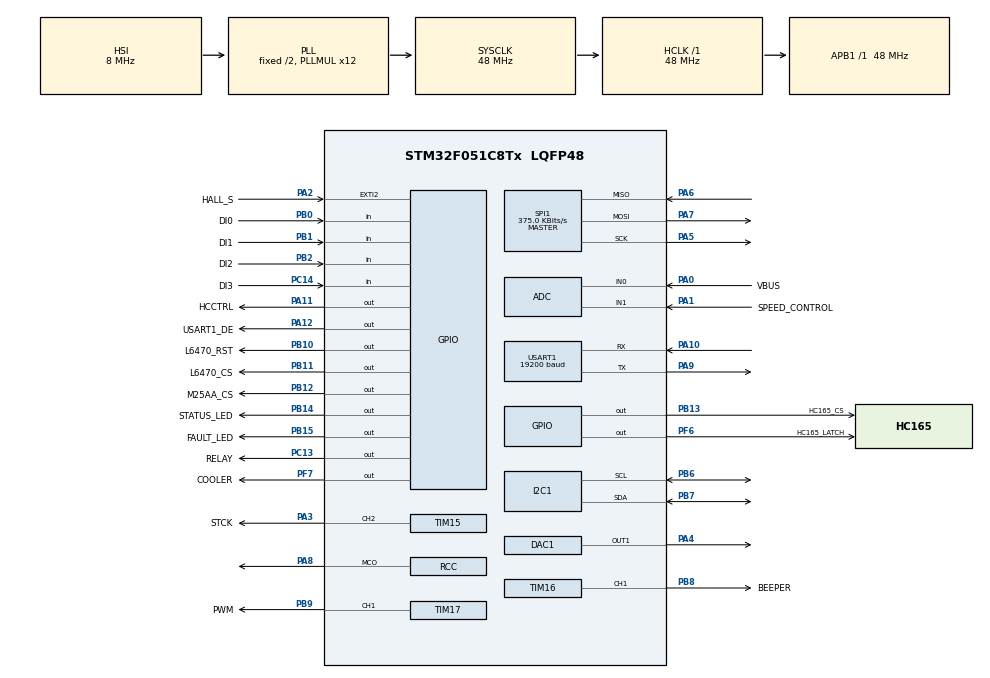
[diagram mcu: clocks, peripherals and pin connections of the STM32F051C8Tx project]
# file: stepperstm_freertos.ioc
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ADC.Channel-1\#ChannelRegularConversion=ADC_CHANNEL_1
ADC.Channel-2\#ChannelRegularConversion=ADC_CHANNEL_TEMPSENSOR
ADC.Channel-IN-TempSens=ADC_CHANNEL_TEMPSENSOR
ADC.Channel-IN1=ADC_CHANNEL_1
ADC.NbrOfConversion=3
ADC.NbrOfConversionFlag=1
ADC.Rank-0\#ChannelRegularConversion=1
ADC.Rank-1\#ChannelRegularConversion=2
ADC.Rank-2\#ChannelRegularConversion=3
ADC.SamplingTime=ADC_SAMPLETIME_13CYCLES_5
ADC.master=1
DAC1.DAC_OutputBuffer-DAC_OUT1=DAC_OUTPUTBUFFER_ENABLE
DAC1.DAC_Trigger-DAC_OUT1=DAC_TRIGGER_NONE
FREERTOS.Queues01=MbQueue,16,uint16_t,0,Dynamic,NULL,NULL
FREERTOS.Tasks01=main_task,0,128,MainTask,Default,NULL,Dynamic,NULL,NULL;mbpool_task,-3,128,MbPoolTask,As external,NULL,Dynamic,NULL,NULL
Mcu.Family=STM32F0
Mcu.Name=STM32F051C8Tx
Mcu.Package=LQFP48
Mcu.UserConstants=RS485_DE_HW_ENABLE,0
NVIC.EXTI2_3_IRQn=true\:3\:0\:false\:false\:true\:true\:true
NVIC.TIM1_BRK_UP_TRG_COM_IRQn=true\:0\:0\:false\:false\:true\:false\:false
NVIC.TIM6_DAC_IRQn=true\:3\:0\:false\:false\:true\:true\:true
NVIC.TimeBase=TIM1_BRK_UP_TRG_COM_IRQn
NVIC.TimeBaseIP=TIM1
NVIC.USART1_IRQn=true\:3\:0\:false\:false\:true\:true\:true
PA0.GPIO_Label=VBUS
PA0.Mode=IN0
PA0.Signal=ADC_IN0
PA1.GPIO_Label=SPEED_CONTROL
PA1.Mode=IN1
PA1.Signal=ADC_IN1
PA10.GPIO_PuPd=GPIO_NOPULL
PA10.Mode=Asynchronous
PA10.Signal=USART1_RX
PA11.GPIO_Label=HCCTRL
PA11.Signal=GPIO_Output
PA12.GPIO_Label=USART1_DE
PA12.Signal=GPIO_Output
PA13.Mode=Serial_Wire
PA13.Signal=SYS_SWDIO
PA14.Mode=Serial_Wire
PA14.Signal=SYS_SWCLK
PA2.GPIO_Label=HALL_S
PA2.Signal=GPXTI2
PA3.GPIO_Label=STCK
PA3.Signal=S_TIM15_CH2
PA4.Signal=COMP_DAC11_group
PA5.Mode=Full_Duplex_Master
PA5.Signal=SPI1_SCK
PA6.GPIO_PuPd=GPIO_PULLUP
PA6.Mode=Full_Duplex_Master
PA6.Signal=SPI1_MISO
PA7.Mode=Full_Duplex_Master
PA7.Signal=SPI1_MOSI
PA8.Mode=Clock-out
PA8.Signal=RCC_MCO
PA9.GPIO_PuPd=GPIO_NOPULL
PA9.Mode=Asynchronous
PA9.Signal=USART1_TX
PB0.GPIO_Label=DI0
PB0.GPIO_PuPd=GPIO_PULLUP
PB0.Signal=GPIO_Input
PB1.GPIO_Label=DI1
PB1.GPIO_PuPd=GPIO_PULLUP
PB1.Signal=GPIO_Input
PB10.GPIO_Label=L6470_RST
PB10.GPIO_PuPd=GPIO_PULLUP
PB10.PinState=GPIO_PIN_SET
PB10.Signal=GPIO_Output
PB11.GPIO_Label=L6470_CS
PB11.PinState=GPIO_PIN_SET
PB11.Signal=GPIO_Output
PB12.GPIO_Label=M25AA_CS
PB12.PinState=GPIO_PIN_SET
PB12.Signal=GPIO_Output
PB13.GPIO_Label=HC165_CS
PB13.PinState=GPIO_PIN_SET
PB13.Signal=GPIO_Output
PB14.GPIO_Label=STATUS_LED
PB14.GPIO_PuPd=GPIO_PULLUP
PB14.PinState=GPIO_PIN_SET
PB14.Signal=GPIO_Output
PB15.GPIO_Label=FAULT_LED
PB15.GPIO_PuPd=GPIO_PULLUP
PB15.PinState=GPIO_PIN_SET
PB15.Signal=GPIO_Output
PB2.GPIO_Label=DI2
PB2.GPIO_PuPd=GPIO_PULLUP
PB2.Signal=GPIO_Input
PB6.Mode=I2C
PB6.Signal=I2C1_SCL
PB7.Mode=I2C
PB7.Signal=I2C1_SDA
PB8.GPIO_Label=BEEPER
PB8.Signal=S_TIM16_CH1
PB9.GPIO_Label=PWM
PB9.Signal=S_TIM17_CH1
PC13.GPIO_Label=RELAY
PC13.Signal=GPIO_Output
PC14-OSC32_IN.GPIO_Label=DI3
PC14-OSC32_IN.GPIO_PuPd=GPIO_PULLUP
PC14-OSC32_IN.Signal=GPIO_Input
PF0-OSC_IN.Mode=HSE-External-Oscillator
PF0-OSC_IN.Signal=RCC_OSC_IN
PF1-OSC_OUT.Mode=HSE-External-Oscillator
PF1-OSC_OUT.Signal=RCC_OSC_OUT
PF6.GPIO_Label=HC165_LATCH
PF6.PinState=GPIO_PIN_SET
PF6.Signal=GPIO_Output
PF7.GPIO_Label=COOLER
PF7.Signal=GPIO_Output
ProjectManager.HeapSize=0x200
ProjectManager.StackSize=0x400
ProjectManager.TargetToolchain=Other Toolchains (GPDSC)
RCC.AHBFreq_Value=48000000
RCC.APB1Freq_Value=48000000
RCC.APB1TimFreq_Value=48000000
RCC.FLatency=FLASH_LATENCY_1
RCC.HCLKFreq_Value=48000000
RCC.HSI14CalibrationValue=16
RCC.PLLMUL=RCC_PLL_MUL12
RCC.SYSCLKFreq_VALUE=48000000
RCC.SYSCLKSource=RCC_SYSCLKSOURCE_PLLCLK
SH.COMP_DAC11_group.0=DAC1_OUT1,DAC_OUT1
SH.S_TIM15_CH2.0=TIM15_CH2,Output Compare2 CH2
SH.S_TIM16_CH1.0=TIM16_CH1,Output Compare1 CH1
SH.S_TIM17_CH1.0=TIM17_CH1,PWM Generation1 CH1
SPI1.BaudRatePrescaler=SPI_BAUDRATEPRESCALER_128
SPI1.CalculateBaudRate=375.0 KBits/s
SPI1.DataSize=SPI_DATASIZE_8BIT
SPI1.Direction=SPI_DIRECTION_2LINES
SPI1.Mode=SPI_MODE_MASTER
SPI1.VirtualType=VM_MASTER
TIM15.Channel-Output\ Compare2\ CH2=TIM_CHANNEL_2
TIM16.Channel=TIM_CHANNEL_1
TIM16.OCMode_1=TIM_OCMODE_TOGGLE
TIM16.Period=24000
TIM17.Channel=TIM_CHANNEL_1
TIM6.Period=1000
USART1.BaudRate=19200
USART1.VirtualMode-Asynchronous=VM_ASYNC
VP_ADC_TempSens_Input.Mode=IN-TempSens
VP_FREERTOS_VS_ENABLE.Mode=Enabled
VP_IWDG_VS_IWDG.Mode=IWDG_Activate
VP_SYS_VS_tim1.Mode=TIM1
VP_TIM16_VS_ClockSourceINT.Mode=Enable_Timer
VP_TIM17_VS_ClockSourceINT.Mode=Enable_Timer
VP_TIM6_VS_ClockSourceINT.Mode=Enable_Timer
VP_TIM6_VS_OPM.Mode=OPM_bit
board=stepperstm_freertos

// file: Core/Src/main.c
/**
  ******************************************************************************
  * @file           : main.c
  * @brief          : Main program body
  ******************************************************************************
  * This notice applies to any and all portions of this file
  * that are not between comment pairs USER CODE BEGIN and
  * USER CODE END. Other portions of this file, whether
  * inserted by the user or by software development tools
  * are owned by their respective copyright owners.
  *
  * Copyright (c) 2018 STMicroelectronics International N.V.
  * All rights reserved.
  *
  * Redistribution and use in source and binary forms, with or without
  * modification, are permitted, provided that the following conditions are met:
  *
  * 1. Redistribution of source code must retain the above copyright notice,
  *    this list of conditions and the following disclaimer.
  * 2. Redistributions in binary form must reproduce the above copyright notice,
  *    this list of conditions and the following disclaimer in the documentation
  *    and/or other materials provided with the distribution.
  * 3. Neither the name of STMicroelectronics nor the names of other
  *    contributors to this software may be used to endorse or promote products
  *    derived from this software without specific written permission.
  * 4. This software, including modifications and/or derivative works of this
  *    software, must execute solely and exclusively on microcontroller or
  *    microprocessor devices manufactured by or for STMicroelectronics.
  * 5. Redistribution and use of this software other than as permitted under
  *    this license is void and will automatically terminate your rights under
  *    this license.
  *
  * THIS SOFTWARE IS PROVIDED BY STMICROELECTRONICS AND CONTRIBUTORS "AS IS"
  * AND ANY EXPRESS, IMPLIED OR STATUTORY WARRANTIES, INCLUDING, BUT NOT
  * LIMITED TO, THE IMPLIED WARRANTIES OF MERCHANTABILITY, FITNESS FOR A
  * PARTICULAR PURPOSE AND NON-INFRINGEMENT OF THIRD PARTY INTELLECTUAL PROPERTY
  * RIGHTS ARE DISCLAIMED TO THE FULLEST EXTENT PERMITTED BY LAW. IN NO EVENT
  * SHALL STMICROELECTRONICS OR CONTRIBUTORS BE LIABLE FOR ANY DIRECT, INDIRECT,
  * INCIDENTAL, SPECIAL, EXEMPLARY, OR CONSEQUENTIAL DAMAGES (INCLUDING, BUT NOT
  * LIMITED TO, PROCUREMENT OF SUBSTITUTE GOODS OR SERVICES; LOSS OF USE, DATA,
  * OR PROFITS; OR BUSINESS INTERRUPTION) HOWEVER CAUSED AND ON ANY THEORY OF
  * LIABILITY, WHETHER IN CONTRACT, STRICT LIABILITY, OR TORT (INCLUDING
  * NEGLIGENCE OR OTHERWISE) ARISING IN ANY WAY OUT OF THE USE OF THIS SOFTWARE,
  * EVEN IF ADVISED OF THE POSSIBILITY OF SUCH DAMAGE.
  *
  ******************************************************************************
  */
#include "main.h"
#include "stm32f0xx_hal.h"
#include "cmsis_os.h"

/* USER CODE BEGIN Includes */
#include <string.h>
#include "smc.h"
#include "M25AA02.h"
#include "mb.h"
#include "mbconfig.h"
#include "user_mb_app.h"

#include "l6470.h"

#define APPLICATION_ADDRESS    0x08003000
/* USER CODE END Includes */

ADC_HandleTypeDef hadc;

DAC_HandleTypeDef hdac1;

I2C_HandleTypeDef hi2c1;

IWDG_HandleTypeDef hiwdg;

SPI_HandleTypeDef hspi1;

TIM_HandleTypeDef htim6;
TIM_HandleTypeDef htim15;
TIM_HandleTypeDef htim16;
TIM_HandleTypeDef htim17;

UART_HandleTypeDef huart1;

osThreadId main_taskHandle;
osThreadId mbpool_taskHandle;
osMessageQId MbQueueHandle;

/* USER CODE BEGIN PV */
UART_HandleTypeDef* pMbPort = &huart1;
TIM_HandleTypeDef* pMbPortTimer = &htim6;
TIM_HandleTypeDef* pBeeperTimer = &htim16;
TIM_HandleTypeDef* pPwmTimer = &htim17;

SmcHandle_TypeDef SMC_Control;
SYSTIME_TypeDef SysTimers;

volatile uint32_t* Timestamp = &SysTimers.CurrentTimestamp;
uint32_t* WTime = &SysTimers.WTime_sec;

/* Private variables ---------------------------------------------------------*/
/* USER CODE END PV */

void SystemClock_Config(void);
static void MX_GPIO_Init(void);
static void MX_TIM16_Init(void);
static void MX_TIM6_Init(void);
static void MX_I2C1_Init(void);
static void MX_USART1_UART_Init(void);
static void MX_DAC1_Init(void);
static void MX_IWDG_Init(void);
static void MX_TIM15_Init(void);
static void MX_TIM17_Init(void);
static void MX_SPI1_Init(void);
static void MX_ADC_Init(void);
void MainTask(void const * argument);
extern void MbPoolTask(void const * argument);

void HAL_TIM_MspPostInit(TIM_HandleTypeDef *htim);

/* USER CODE BEGIN PFP */
static void RemapVectorTable(void);
/* -----------------------------Extern functions ---------------------------- */
/* ------------------------ Private function prototypes ----------------------*/

/* USER CODE END PFP */

int main(void)
{
  /* USER CODE BEGIN 1 */
    RemapVectorTable();
  /* USER CODE END 1 */

  /* MCU Configuration----------------------------------------------------------*/

  /* Reset of all peripherals, Initializes the Flash interface and the Systick. */
  HAL_Init();

  /* Configure the system clock */
  SystemClock_Config();

  /* Initialize all configured peripherals */
  MX_GPIO_Init();
  MX_TIM16_Init();
  MX_TIM6_Init();
  MX_I2C1_Init();
  MX_USART1_UART_Init();
  MX_DAC1_Init();
  MX_IWDG_Init();
  MX_TIM15_Init();
  MX_TIM17_Init();
  MX_SPI1_Init();
  MX_ADC_Init();
  /* USER CODE BEGIN 2 */

    if( SMC_Init( ) != true ) _Error_Handler(__FILE__, __LINE__);

    memcpy(SMC_Control.StrData.pName, "STP", 3);
    memcpy(SMC_Control.StrData.pVersion, "1.0a", 4);
    if( M25AA02_GetID( SMC_Control.StrData.pId ) == false ) _Error_Handler(__FILE__, __LINE__);

    if( eMBSetSlaveID( 123, TRUE, ucSlaveIdBuf, MB_FUNC_OTHER_REP_SLAVEID_BUF - 2 )  != MB_ENOERR ) _Error_Handler(__FILE__, __LINE__);
    if( eMBInit( MB_RTU, 0x0A, 0, 19200, MB_PAR_NONE ) != MB_ENOERR ) _Error_Handler(__FILE__, __LINE__);
    if( eMBEnable( ) != MB_ENOERR ) _Error_Handler(__FILE__, __LINE__);

//    while(1){
//        SMC_ReadDipSwitch( );
//        HAL_Delay(100);
//    }

    SMC_Control.MotorData.RotSpeedSetting = 200;
    SMC_Control.MotorData.RotDirSetting = CW;

    SMC_GetMotorStatusRegister( );

    SMC_MotorStart( );

    SMC_GetMotorCurrentSpeed();

    SMC_MotorReverse( );
    //SMC_MotorStartParam( CCW, 20 );
    SMC_MotorStop( );

  /* USER CODE END 2 */

  /* Create the thread(s) */
  /* definition and creation of main_task */
  osThreadDef(main_task, MainTask, osPriorityNormal, 0, 128);
  main_taskHandle = osThreadCreate(osThread(main_task), NULL);

  /* definition and creation of mbpool_task */
  osThreadDef(mbpool_task, MbPoolTask, osPriorityIdle, 0, 128);
  mbpool_taskHandle = osThreadCreate(osThread(mbpool_task), NULL);

  /* Create the queue(s) */
  /* definition and creation of MbQueue */
  osMessageQDef(MbQueue, 16, uint16_t);
  MbQueueHandle = osMessageCreate(osMessageQ(MbQueue), NULL);

  /* Start scheduler */
  osKernelStart();

  /* We should never get here as control is now taken by the scheduler */

  /* Infinite loop */
    while (1) {

    }

}

void SystemClock_Config(void)
{

  RCC_OscInitTypeDef RCC_OscInitStruct;
  RCC_ClkInitTypeDef RCC_ClkInitStruct;
  RCC_PeriphCLKInitTypeDef PeriphClkInit;

    /**Initializes the CPU, AHB and APB busses clocks
    */
  RCC_OscInitStruct.OscillatorType = RCC_OSCILLATORTYPE_HSI|RCC_OSCILLATORTYPE_HSI14
                              |RCC_OSCILLATORTYPE_LSI;
  RCC_OscInitStruct.HSIState = RCC_HSI_ON;
  RCC_OscInitStruct.HSI14State = RCC_HSI14_ON;
  RCC_OscInitStruct.HSICalibrationValue = 16;
  RCC_OscInitStruct.HSI14CalibrationValue = 16;
  RCC_OscInitStruct.LSIState = RCC_LSI_ON;
  RCC_OscInitStruct.PLL.PLLState = RCC_PLL_ON;
  RCC_OscInitStruct.PLL.PLLSource = RCC_PLLSOURCE_HSI;
  RCC_OscInitStruct.PLL.PLLMUL = RCC_PLL_MUL12;
  RCC_OscInitStruct.PLL.PREDIV = RCC_PREDIV_DIV1;
  if (HAL_RCC_OscConfig(&RCC_OscInitStruct) != HAL_OK)
  {
    _Error_Handler(__FILE__, __LINE__);
  }

    /**Initializes the CPU, AHB and APB busses clocks
    */
  RCC_ClkInitStruct.ClockType = RCC_CLOCKTYPE_HCLK|RCC_CLOCKTYPE_SYSCLK
                              |RCC_CLOCKTYPE_PCLK1;
  RCC_ClkInitStruct.SYSCLKSource = RCC_SYSCLKSOURCE_PLLCLK;
  RCC_ClkInitStruct.AHBCLKDivider = RCC_SYSCLK_DIV1;
  RCC_ClkInitStruct.APB1CLKDivider = RCC_HCLK_DIV1;

  if (HAL_RCC_ClockConfig(&RCC_ClkInitStruct, FLASH_LATENCY_1) != HAL_OK)
  {
    _Error_Handler(__FILE__, __LINE__);
  }

  PeriphClkInit.PeriphClockSelection = RCC_PERIPHCLK_USART1|RCC_PERIPHCLK_I2C1;
  PeriphClkInit.Usart1ClockSelection = RCC_USART1CLKSOURCE_PCLK1;
  PeriphClkInit.I2c1ClockSelection = RCC_I2C1CLKSOURCE_HSI;
  if (HAL_RCCEx_PeriphCLKConfig(&PeriphClkInit) != HAL_OK)
  {
    _Error_Handler(__FILE__, __LINE__);
  }

  HAL_RCC_MCOConfig(RCC_MCO, RCC_MCO1SOURCE_SYSCLK, RCC_MCODIV_1);

    /**Configure the Systick interrupt time
    */
  HAL_SYSTICK_Config(HAL_RCC_GetHCLKFreq()/1000);

    /**Configure the Systick
    */
  HAL_SYSTICK_CLKSourceConfig(SYSTICK_CLKSOURCE_HCLK);

  /* SysTick_IRQn interrupt configuration */
  HAL_NVIC_SetPriority(SysTick_IRQn, 3, 0);
}

/* ADC init function */
static void MX_ADC_Init(void)
{

  ADC_ChannelConfTypeDef sConfig;

    /**Configure the global features of the ADC (Clock, Resolution, Data Alignment and number of conversion)
    */
  hadc.Instance = ADC1;
  hadc.Init.ClockPrescaler = ADC_CLOCK_ASYNC_DIV1;
  hadc.Init.Resolution = ADC_RESOLUTION_12B;
  hadc.Init.DataAlign = ADC_DATAALIGN_RIGHT;
  hadc.Init.ScanConvMode = ADC_SCAN_DIRECTION_FORWARD;
  hadc.Init.EOCSelection = ADC_EOC_SINGLE_CONV;
  hadc.Init.LowPowerAutoWait = DISABLE;
  hadc.Init.LowPowerAutoPowerOff = DISABLE;
  hadc.Init.ContinuousConvMode = DISABLE;
  hadc.Init.DiscontinuousConvMode = DISABLE;
  hadc.Init.ExternalTrigConv = ADC_SOFTWARE_START;
  hadc.Init.ExternalTrigConvEdge = ADC_EXTERNALTRIGCONVEDGE_NONE;
  hadc.Init.DMAContinuousRequests = DISABLE;
  hadc.Init.Overrun = ADC_OVR_DATA_PRESERVED;
  if (HAL_ADC_Init(&hadc) != HAL_OK)
  {
    _Error_Handler(__FILE__, __LINE__);
  }

    /**Configure for the selected ADC regular channel to be converted.
    */
  sConfig.Channel = ADC_CHANNEL_0;
  sConfig.Rank = ADC_RANK_CHANNEL_NUMBER;
  sConfig.SamplingTime = ADC_SAMPLETIME_13CYCLES_5;
  if (HAL_ADC_ConfigChannel(&hadc, &sConfig) != HAL_OK)
  {
    _Error_Handler(__FILE__, __LINE__);
  }

    /**Configure for the selected ADC regular channel to be converted.
    */
  sConfig.Channel = ADC_CHANNEL_1;
  if (HAL_ADC_ConfigChannel(&hadc, &sConfig) != HAL_OK)
  {
    _Error_Handler(__FILE__, __LINE__);
  }

    /**Configure for the selected ADC regular channel to be converted.
    */
  sConfig.Channel = ADC_CHANNEL_TEMPSENSOR;
  if (HAL_ADC_ConfigChannel(&hadc, &sConfig) != HAL_OK)
  {
    _Error_Handler(__FILE__, __LINE__);
  }

}

/* DAC1 init function */
static void MX_DAC1_Init(void)
{

  DAC_ChannelConfTypeDef sConfig;

    /**DAC Initialization
    */
  hdac1.Instance = DAC;
  if (HAL_DAC_Init(&hdac1) != HAL_OK)
  {
    _Error_Handler(__FILE__, __LINE__);
  }

    /**DAC channel OUT1 config
    */
  sConfig.DAC_Trigger = DAC_TRIGGER_NONE;
  sConfig.DAC_OutputBuffer = DAC_OUTPUTBUFFER_ENABLE;
  if (HAL_DAC_ConfigChannel(&hdac1, &sConfig, DAC_CHANNEL_1) != HAL_OK)
  {
    _Error_Handler(__FILE__, __LINE__);
  }

}

/* I2C1 init function */
static void MX_I2C1_Init(void)
{

  hi2c1.Instance = I2C1;
  hi2c1.Init.Timing = 0x2000090E;
  hi2c1.Init.OwnAddress1 = 0;
  hi2c1.Init.AddressingMode = I2C_ADDRESSINGMODE_7BIT;
  hi2c1.Init.DualAddressMode = I2C_DUALADDRESS_DISABLE;
  hi2c1.Init.OwnAddress2 = 0;
  hi2c1.Init.OwnAddress2Masks = I2C_OA2_NOMASK;
  hi2c1.Init.GeneralCallMode = I2C_GENERALCALL_DISABLE;
  hi2c1.Init.NoStretchMode = I2C_NOSTRETCH_DISABLE;
  if (HAL_I2C_Init(&hi2c1) != HAL_OK)
  {
    _Error_Handler(__FILE__, __LINE__);
  }

    /**Configure Analogue filter
    */
  if (HAL_I2CEx_ConfigAnalogFilter(&hi2c1, I2C_ANALOGFILTER_ENABLE) != HAL_OK)
  {
    _Error_Handler(__FILE__, __LINE__);
  }

    /**Configure Digital filter
    */
  if (HAL_I2CEx_ConfigDigitalFilter(&hi2c1, 0) != HAL_OK)
  {
    _Error_Handler(__FILE__, __LINE__);
  }

}

/* IWDG init function */
static void MX_IWDG_Init(void)
{

  hiwdg.Instance = IWDG;
  hiwdg.Init.Prescaler = IWDG_PRESCALER_4;
  hiwdg.Init.Window = 4095;
  hiwdg.Init.Reload = 4095;
  if (HAL_IWDG_Init(&hiwdg) != HAL_OK)
  {
    _Error_Handler(__FILE__, __LINE__);
  }

}

/* SPI1 init function */
static void MX_SPI1_Init(void)
{

  /* SPI1 parameter configuration*/
  hspi1.Instance = SPI1;
  hspi1.Init.Mode = SPI_MODE_MASTER;
  hspi1.Init.Direction = SPI_DIRECTION_2LINES;
  hspi1.Init.DataSize = SPI_DATASIZE_8BIT;
  hspi1.Init.CLKPolarity = SPI_POLARITY_LOW;
  hspi1.Init.CLKPhase = SPI_PHASE_1EDGE;
  hspi1.Init.NSS = SPI_NSS_SOFT;
  hspi1.Init.BaudRatePrescaler = SPI_BAUDRATEPRESCALER_128;
  hspi1.Init.FirstBit = SPI_FIRSTBIT_MSB;
  hspi1.Init.TIMode = SPI_TIMODE_DISABLE;
  hspi1.Init.CRCCalculation = SPI_CRCCALCULATION_DISABLE;
  hspi1.Init.CRCPolynomial = 7;
  hspi1.Init.CRCLength = SPI_CRC_LENGTH_DATASIZE;
  hspi1.Init.NSSPMode = SPI_NSS_PULSE_ENABLE;
  if (HAL_SPI_Init(&hspi1) != HAL_OK)
  {
    _Error_Handler(__FILE__, __LINE__);
  }

}

/* TIM6 init function */
static void MX_TIM6_Init(void)
{

  TIM_MasterConfigTypeDef sMasterConfig;

  htim6.Instance = TIM6;
  htim6.Init.Prescaler = 0;
  htim6.Init.CounterMode = TIM_COUNTERMODE_UP;
  htim6.Init.Period = 1000;
  htim6.Init.AutoReloadPreload = TIM_AUTORELOAD_PRELOAD_DISABLE;
  if (HAL_TIM_Base_Init(&htim6) != HAL_OK)
  {
    _Error_Handler(__FILE__, __LINE__);
  }

  if (HAL_TIM_OnePulse_Init(&htim6, TIM_OPMODE_SINGLE) != HAL_OK)
  {
    _Error_Handler(__FILE__, __LINE__);
  }

  sMasterConfig.MasterOutputTrigger = TIM_TRGO_RESET;
  sMasterConfig.MasterSlaveMode = TIM_MASTERSLAVEMODE_DISABLE;
  if (HAL_TIMEx_MasterConfigSynchronization(&htim6, &sMasterConfig) != HAL_OK)
  {
    _Error_Handler(__FILE__, __LINE__);
  }

}

/* TIM15 init function */
static void MX_TIM15_Init(void)
{

  TIM_MasterConfigTypeDef sMasterConfig;
  TIM_OC_InitTypeDef sConfigOC;
  TIM_BreakDeadTimeConfigTypeDef sBreakDeadTimeConfig;

  htim15.Instance = TIM15;
  htim15.Init.Prescaler = 0;
  htim15.Init.CounterMode = TIM_COUNTERMODE_UP;
  htim15.Init.Period = 0;
  htim15.Init.ClockDivision = TIM_CLOCKDIVISION_DIV1;
  htim15.Init.RepetitionCounter = 0;
  htim15.Init.AutoReloadPreload = TIM_AUTORELOAD_PRELOAD_DISABLE;
  if (HAL_TIM_OC_Init(&htim15) != HAL_OK)
  {
    _Error_Handler(__FILE__, __LINE__);
  }

  sMasterConfig.MasterOutputTrigger = TIM_TRGO_RESET;
  sMasterConfig.MasterSlaveMode = TIM_MASTERSLAVEMODE_DISABLE;
  if (HAL_TIMEx_MasterConfigSynchronization(&htim15, &sMasterConfig) != HAL_OK)
  {
    _Error_Handler(__FILE__, __LINE__);
  }

  sConfigOC.OCMode = TIM_OCMODE_TIMING;
  sConfigOC.Pulse = 0;
  sConfigOC.OCPolarity = TIM_OCPOLARITY_HIGH;
  sConfigOC.OCNPolarity = TIM_OCNPOLARITY_HIGH;
  sConfigOC.OCFastMode = TIM_OCFAST_DISABLE;
  sConfigOC.OCIdleState = TIM_OCIDLESTATE_RESET;
  sConfigOC.OCNIdleState = TIM_OCNIDLESTATE_RESET;
  if (HAL_TIM_OC_ConfigChannel(&htim15, &sConfigOC, TIM_CHANNEL_2) != HAL_OK)
  {
    _Error_Handler(__FILE__, __LINE__);
  }

  sBreakDeadTimeConfig.OffStateRunMode = TIM_OSSR_DISABLE;
  sBreakDeadTimeConfig.OffStateIDLEMode = TIM_OSSI_DISABLE;
  sBreakDeadTimeConfig.LockLevel = TIM_LOCKLEVEL_OFF;
  sBreakDeadTimeConfig.DeadTime = 0;
  sBreakDeadTimeConfig.BreakState = TIM_BREAK_DISABLE;
  sBreakDeadTimeConfig.BreakPolarity = TIM_BREAKPOLARITY_HIGH;
  sBreakDeadTimeConfig.AutomaticOutput = TIM_AUTOMATICOUTPUT_DISABLE;
  if (HAL_TIMEx_ConfigBreakDeadTime(&htim15, &sBreakDeadTimeConfig) != HAL_OK)
  {
    _Error_Handler(__FILE__, __LINE__);
  }

  HAL_TIM_MspPostInit(&htim15);

}

/* TIM16 init function */
static void MX_TIM16_Init(void)
{

  TIM_OC_InitTypeDef sConfigOC;
  TIM_BreakDeadTimeConfigTypeDef sBreakDeadTimeConfig;

  htim16.Instance = TIM16;
  htim16.Init.Prescaler = 0;
  htim16.Init.CounterMode = TIM_COUNTERMODE_UP;
  htim16.Init.Period = 24000;
  htim16.Init.ClockDivision = TIM_CLOCKDIVISION_DIV1;
  htim16.Init.RepetitionCounter = 0;
  htim16.Init.AutoReloadPreload = TIM_AUTORELOAD_PRELOAD_DISABLE;
  if (HAL_TIM_Base_Init(&htim16) != HAL_OK)
  {
    _Error_Handler(__FILE__, __LINE__);
  }

  if (HAL_TIM_OC_Init(&htim16) != HAL_OK)
  {
    _Error_Handler(__FILE__, __LINE__);
  }

  sConfigOC.OCMode = TIM_OCMODE_TOGGLE;
  sConfigOC.Pulse = 0;
  sConfigOC.OCPolarity = TIM_OCPOLARITY_HIGH;
  sConfigOC.OCNPolarity = TIM_OCNPOLARITY_HIGH;
  sConfigOC.OCFastMode = TIM_OCFAST_DISABLE;
  sConfigOC.OCIdleState = TIM_OCIDLESTATE_RESET;
  sConfigOC.OCNIdleState = TIM_OCNIDLESTATE_RESET;
  if (HAL_TIM_OC_ConfigChannel(&htim16, &sConfigOC, TIM_CHANNEL_1) != HAL_OK)
  {
    _Error_Handler(__FILE__, __LINE__);
  }

  sBreakDeadTimeConfig.OffStateRunMode = TIM_OSSR_DISABLE;
  sBreakDeadTimeConfig.OffStateIDLEMode = TIM_OSSI_DISABLE;
  sBreakDeadTimeConfig.LockLevel = TIM_LOCKLEVEL_OFF;
  sBreakDeadTimeConfig.DeadTime = 0;
  sBreakDeadTimeConfig.BreakState = TIM_BREAK_DISABLE;
  sBreakDeadTimeConfig.BreakPolarity = TIM_BREAKPOLARITY_HIGH;
  sBreakDeadTimeConfig.AutomaticOutput = TIM_AUTOMATICOUTPUT_DISABLE;
  if (HAL_TIMEx_ConfigBreakDeadTime(&htim16, &sBreakDeadTimeConfig) != HAL_OK)
  {
    _Error_Handler(__FILE__, __LINE__);
  }

  HAL_TIM_MspPostInit(&htim16);

}

/* TIM17 init function */
static void MX_TIM17_Init(void)
{

  TIM_OC_InitTypeDef sConfigOC;
  TIM_BreakDeadTimeConfigTypeDef sBreakDeadTimeConfig;

  htim17.Instance = TIM17;
  htim17.Init.Prescaler = 0;
  htim17.Init.CounterMode = TIM_COUNTERMODE_UP;
  htim17.Init.Period = 0;
  htim17.Init.ClockDivision = TIM_CLOCKDIVISION_DIV1;
  htim17.Init.RepetitionCounter = 0;
  htim17.Init.AutoReloadPreload = TIM_AUTORELOAD_PRELOAD_DISABLE;
  if (HAL_TIM_Base_Init(&htim17) != HAL_OK)
  {
    _Error_Handler(__FILE__, __LINE__);
  }

  if (HAL_TIM_PWM_Init(&htim17) != HAL_OK)
  {
    _Error_Handler(__FILE__, __LINE__);
  }

  sConfigOC.OCMode = TIM_OCMODE_PWM1;
  sConfigOC.Pulse = 0;
  sConfigOC.OCPolarity = TIM_OCPOLARITY_HIGH;
  sConfigOC.OCNPolarity = TIM_OCNPOLARITY_HIGH;
  sConfigOC.OCFastMode = TIM_OCFAST_DISABLE;
  sConfigOC.OCIdleState = TIM_OCIDLESTATE_RESET;
  sConfigOC.OCNIdleState = TIM_OCNIDLESTATE_RESET;
  if (HAL_TIM_PWM_ConfigChannel(&htim17, &sConfigOC, TIM_CHANNEL_1) != HAL_OK)
  {
    _Error_Handler(__FILE__, __LINE__);
  }

  sBreakDeadTimeConfig.OffStateRunMode = TIM_OSSR_DISABLE;
  sBreakDeadTimeConfig.OffStateIDLEMode = TIM_OSSI_DISABLE;
  sBreakDeadTimeConfig.LockLevel = TIM_LOCKLEVEL_OFF;
  sBreakDeadTimeConfig.DeadTime = 0;
  sBreakDeadTimeConfig.BreakState = TIM_BREAK_DISABLE;
  sBreakDeadTimeConfig.BreakPolarity = TIM_BREAKPOLARITY_HIGH;
  sBreakDeadTimeConfig.AutomaticOutput = TIM_AUTOMATICOUTPUT_DISABLE;
  if (HAL_TIMEx_ConfigBreakDeadTime(&htim17, &sBreakDeadTimeConfig) != HAL_OK)
  {
    _Error_Handler(__FILE__, __LINE__);
  }

  HAL_TIM_MspPostInit(&htim17);

}

/* USART1 init function */
static void MX_USART1_UART_Init(void)
{

  huart1.Instance = USART1;
  huart1.Init.BaudRate = 19200;
  huart1.Init.WordLength = UART_WORDLENGTH_8B;
  huart1.Init.StopBits = UART_STOPBITS_1;
  huart1.Init.Parity = UART_PARITY_NONE;
  huart1.Init.Mode = UART_MODE_TX_RX;
  huart1.Init.HwFlowCtl = UART_HWCONTROL_NONE;
  huart1.Init.OverSampling = UART_OVERSAMPLING_16;
  huart1.Init.OneBitSampling = UART_ONE_BIT_SAMPLE_DISABLE;
  huart1.AdvancedInit.AdvFeatureInit = UART_ADVFEATURE_NO_INIT;
  if (HAL_UART_Init(&huart1) != HAL_OK)
  {
    _Error_Handler(__FILE__, __LINE__);
  }

}

/** Configure pins as
        * Analog
        * Input
        * Output
        * EVENT_OUT
        * EXTI
     PA8   ------> RCC_MCO
*/
static void MX_GPIO_Init(void)
{

  GPIO_InitTypeDef GPIO_InitStruct;

  /* GPIO Ports Clock Enable */
  __HAL_RCC_GPIOC_CLK_ENABLE();
  __HAL_RCC_GPIOF_CLK_ENABLE();
  __HAL_RCC_GPIOA_CLK_ENABLE();
  __HAL_RCC_GPIOB_CLK_ENABLE();

  /*Configure GPIO pin Output Level */
  HAL_GPIO_WritePin(RELAY_GPIO_Port, RELAY_Pin, GPIO_PIN_RESET);

  /*Configure GPIO pin Output Level */
  HAL_GPIO_WritePin(GPIOB, L6470_RST_Pin|L6470_CS_Pin|M25AA_CS_Pin|HC165_CS_Pin
                          |STATUS_LED_Pin|FAULT_LED_Pin, GPIO_PIN_SET);

  /*Configure GPIO pin Output Level */
  HAL_GPIO_WritePin(GPIOA, HCCTRL_Pin|USART1_DE_Pin, GPIO_PIN_RESET);

  /*Configure GPIO pin Output Level */
  HAL_GPIO_WritePin(HC165_LATCH_GPIO_Port, HC165_LATCH_Pin, GPIO_PIN_SET);

  /*Configure GPIO pin Output Level */
  HAL_GPIO_WritePin(COOLER_GPIO_Port, COOLER_Pin, GPIO_PIN_RESET);

  /*Configure GPIO pin : RELAY_Pin */
  GPIO_InitStruct.Pin = RELAY_Pin;
  GPIO_InitStruct.Mode = GPIO_MODE_OUTPUT_PP;
  GPIO_InitStruct.Pull = GPIO_NOPULL;
  GPIO_InitStruct.Speed = GPIO_SPEED_FREQ_LOW;
  HAL_GPIO_Init(RELAY_GPIO_Port, &GPIO_InitStruct);

  /*Configure GPIO pin : DI3_Pin */
  GPIO_InitStruct.Pin = DI3_Pin;
  GPIO_InitStruct.Mode = GPIO_MODE_INPUT;
  GPIO_InitStruct.Pull = GPIO_PULLUP;
  HAL_GPIO_Init(DI3_GPIO_Port, &GPIO_InitStruct);

  /*Configure GPIO pin : HALL_S_Pin */
  GPIO_InitStruct.Pin = HALL_S_Pin;
  GPIO_InitStruct.Mode = GPIO_MODE_IT_RISING;
  GPIO_InitStruct.Pull = GPIO_NOPULL;
  HAL_GPIO_Init(HALL_S_GPIO_Port, &GPIO_InitStruct);

  /*Configure GPIO pins : DI0_Pin DI1_Pin DI2_Pin */
  GPIO_InitStruct.Pin = DI0_Pin|DI1_Pin|DI2_Pin;
  GPIO_InitStruct.Mode = GPIO_MODE_INPUT;
  GPIO_InitStruct.Pull = GPIO_PULLUP;
  HAL_GPIO_Init(GPIOB, &GPIO_InitStruct);

  /*Configure GPIO pins : L6470_RST_Pin STATUS_LED_Pin FAULT_LED_Pin */
  GPIO_InitStruct.Pin = L6470_RST_Pin|STATUS_LED_Pin|FAULT_LED_Pin;
  GPIO_InitStruct.Mode = GPIO_MODE_OUTPUT_PP;
  GPIO_InitStruct.Pull = GPIO_PULLUP;
  GPIO_InitStruct.Speed = GPIO_SPEED_FREQ_LOW;
  HAL_GPIO_Init(GPIOB, &GPIO_InitStruct);

  /*Configure GPIO pins : L6470_CS_Pin M25AA_CS_Pin HC165_CS_Pin */
  GPIO_InitStruct.Pin = L6470_CS_Pin|M25AA_CS_Pin|HC165_CS_Pin;
  GPIO_InitStruct.Mode = GPIO_MODE_OUTPUT_PP;
  GPIO_InitStruct.Pull = GPIO_NOPULL;
  GPIO_InitStruct.Speed = GPIO_SPEED_FREQ_LOW;
  HAL_GPIO_Init(GPIOB, &GPIO_InitStruct);

  /*Configure GPIO pin : PA8 */
  GPIO_InitStruct.Pin = GPIO_PIN_8;
  GPIO_InitStruct.Mode = GPIO_MODE_AF_PP;
  GPIO_InitStruct.Pull = GPIO_NOPULL;
  GPIO_InitStruct.Speed = GPIO_SPEED_FREQ_LOW;
  GPIO_InitStruct.Alternate = GPIO_AF0_MCO;
  HAL_GPIO_Init(GPIOA, &GPIO_InitStruct);

  /*Configure GPIO pins : HCCTRL_Pin USART1_DE_Pin */
  GPIO_InitStruct.Pin = HCCTRL_Pin|USART1_DE_Pin;
  GPIO_InitStruct.Mode = GPIO_MODE_OUTPUT_PP;
  GPIO_InitStruct.Pull = GPIO_NOPULL;
  GPIO_InitStruct.Speed = GPIO_SPEED_FREQ_LOW;
  HAL_GPIO_Init(GPIOA, &GPIO_InitStruct);

  /*Configure GPIO pins : HC165_LATCH_Pin COOLER_Pin */
  GPIO_InitStruct.Pin = HC165_LATCH_Pin|COOLER_Pin;
  GPIO_InitStruct.Mode = GPIO_MODE_OUTPUT_PP;
  GPIO_InitStruct.Pull = GPIO_NOPULL;
  GPIO_InitStruct.Speed = GPIO_SPEED_FREQ_LOW;
  HAL_GPIO_Init(GPIOF, &GPIO_InitStruct);

  /* EXTI interrupt init*/
  HAL_NVIC_SetPriority(EXTI2_3_IRQn, 3, 0);
  HAL_NVIC_EnableIRQ(EXTI2_3_IRQn);

}

/* USER CODE BEGIN 4 */

static void RemapVectorTable(void) {
    // Copy interrupt vector table to the RAM.
    volatile uint32_t *VectorTable = (volatile uint32_t *)0x20000000;
    uint32_t ui32_VectorIndex = 0;

    __disable_irq();

    for(ui32_VectorIndex = 0; ui32_VectorIndex < 48; ui32_VectorIndex++) {
        VectorTable[ui32_VectorIndex] = *(__IO uint32_t*)((uint32_t)APPLICATION_ADDRESS + (ui32_VectorIndex << 2));
    }

    __HAL_RCC_AHB_FORCE_RESET();
    __HAL_RCC_SYSCFG_CLK_ENABLE();
    __HAL_RCC_AHB_RELEASE_RESET();
    // Remap RAM into 0x0000 0000
    __HAL_SYSCFG_REMAPMEMORY_SRAM();

    __enable_irq();
}

/* USER CODE END 4 */

/* MainTask function */
void MainTask(void const * argument)
{

  /* USER CODE BEGIN 5 */
    /* Infinite loop */
    for(;;) {
        if( HAL_IWDG_Refresh(&hiwdg) != HAL_OK ) _Error_Handler(__FILE__, __LINE__);

        osDelay(1);
    }
  /* USER CODE END 5 */
}

void HAL_TIM_PeriodElapsedCallback(TIM_HandleTypeDef *htim)
{
  if (htim->Instance == TIM1) {
    HAL_IncTick();
  }
}

void _Error_Handler(char *file, int line)
{
    while(1) {
    }
}

/************************ (C) COPYRIGHT STMicroelectronics *****END OF FILE****/

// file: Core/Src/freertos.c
/**
  ******************************************************************************
  * File Name          : freertos.c
  * Description        : Code for freertos applications
  ******************************************************************************
  * This notice applies to any and all portions of this file
  * that are not between comment pairs USER CODE BEGIN and
  * USER CODE END. Other portions of this file, whether
  * inserted by the user or by software development tools
  * are owned by their respective copyright owners.
  *
  * Copyright (c) 2018 STMicroelectronics International N.V.
  * All rights reserved.
  *
  * Redistribution and use in source and binary forms, with or without
  * modification, are permitted, provided that the following conditions are met:
  *
  * 1. Redistribution of source code must retain the above copyright notice,
  *    this list of conditions and the following disclaimer.
  * 2. Redistributions in binary form must reproduce the above copyright notice,
  *    this list of conditions and the following disclaimer in the documentation
  *    and/or other materials provided with the distribution.
  * 3. Neither the name of STMicroelectronics nor the names of other
  *    contributors to this software may be used to endorse or promote products
  *    derived from this software without specific written permission.
  * 4. This software, including modifications and/or derivative works of this
  *    software, must execute solely and exclusively on microcontroller or
  *    microprocessor devices manufactured by or for STMicroelectronics.
  * 5. Redistribution and use of this software other than as permitted under
  *    this license is void and will automatically terminate your rights under
  *    this license.
  *
  * THIS SOFTWARE IS PROVIDED BY STMICROELECTRONICS AND CONTRIBUTORS "AS IS"
  * AND ANY EXPRESS, IMPLIED OR STATUTORY WARRANTIES, INCLUDING, BUT NOT
  * LIMITED TO, THE IMPLIED WARRANTIES OF MERCHANTABILITY, FITNESS FOR A
  * PARTICULAR PURPOSE AND NON-INFRINGEMENT OF THIRD PARTY INTELLECTUAL PROPERTY
  * RIGHTS ARE DISCLAIMED TO THE FULLEST EXTENT PERMITTED BY LAW. IN NO EVENT
  * SHALL STMICROELECTRONICS OR CONTRIBUTORS BE LIABLE FOR ANY DIRECT, INDIRECT,
  * INCIDENTAL, SPECIAL, EXEMPLARY, OR CONSEQUENTIAL DAMAGES (INCLUDING, BUT NOT
  * LIMITED TO, PROCUREMENT OF SUBSTITUTE GOODS OR SERVICES; LOSS OF USE, DATA,
  * OR PROFITS; OR BUSINESS INTERRUPTION) HOWEVER CAUSED AND ON ANY THEORY OF
  * LIABILITY, WHETHER IN CONTRACT, STRICT LIABILITY, OR TORT (INCLUDING
  * NEGLIGENCE OR OTHERWISE) ARISING IN ANY WAY OUT OF THE USE OF THIS SOFTWARE,
  * EVEN IF ADVISED OF THE POSSIBILITY OF SUCH DAMAGE.
  *
  ******************************************************************************
  */

#include "FreeRTOS.h"
#include "task.h"

/* USER CODE BEGIN Includes */
#include "cmsis_os.h"
#include "mb.h"
/* USER CODE END Includes */

/* USER CODE BEGIN Variables */
extern osMessageQId MbQueueHandle;

extern IWDG_HandleTypeDef hiwdg;
extern TIM_HandleTypeDef* pMbPortTimer;
/* USER CODE END Variables */

/* Hook prototypes */

/* USER CODE BEGIN Application */
void MbPoolTask(void const * argument){

    while(1){

        (void)HAL_IWDG_Refresh(&hiwdg);

        eMBPoll();

        osDelay(10);
    }

    osThreadTerminate(NULL);
}
/* USER CODE END Application */

/************************ (C) COPYRIGHT STMicroelectronics *****END OF FILE****/
